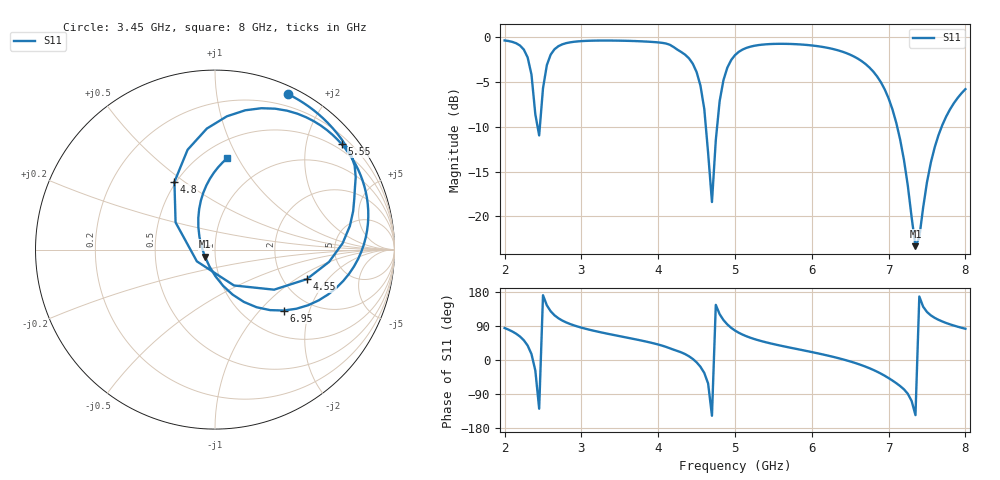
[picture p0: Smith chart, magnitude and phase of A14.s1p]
! Generated by Hertzon (EMerge FEM)
# HZ S RI R 50
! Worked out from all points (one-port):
!   121 points, 2 GHz to 8 GHz, reference 50 ohm
!   lowest |S11| = -23.3 dB at 7.35 GHz (marker M1), VSWR 1.15, Z = 44.5 - j3.46 ohm
!   |S11| at or under -10 dB: 2.43 GHz to 2.459 GHz (29.43 MHz wide, 1.2 % of centre); 4.62 GHz to 4.767 GHz (146.7 MHz wide, 3.13 % of centre); 7.112 GHz to 7.691 GHz (578.7 MHz wide, 7.82 % of centre)
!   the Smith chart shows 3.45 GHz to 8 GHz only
!   S11 on the Smith chart (normalised r, x): 3.45 GHz: 0.08, +1.57; 4.55 GHz: 2.68, -1.24; 4.8 GHz: 0.49, +0.46; 5.55 GHz: 0.36, +2.72; 6.95 GHz: 1.49, -1.37; 8 GHz: 0.65, +0.90
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2e9  0.093 0.9545
2.2e9  0.4218 0.7937
2.3e9  0.6073 0.4755
2.35e9  0.5956 0.1662
2.4e9  0.3286 -0.1731
2.45e9  -0.1766 -0.2214
2.5e9  -0.5129 0.0823
2.55e9  -0.5672 0.4083
2.65e9  -0.4013 0.7571
2.75e9  -0.2239 0.8841
3.45e9  0.4069 0.8662
3.5e9  0.4368 0.8507
3.95e9  0.6811 0.6466
4.25e9  0.7796 0.3441
4.45e9  0.711 0.0352
4.55e9  0.5114 -0.1646
4.65e9  0.1057 -0.1998
4.7e9  -0.1011 -0.0654
4.8e9  -0.226 0.3773
5e9  0.1687 0.7763
5.55e9  0.7056 0.5876
5.75e9  0.7827 0.4755
6.5e9  0.7969 -0.0531
6.95e9  0.382 -0.3394
7.25e9  0.00257 -0.1489
7.35e9  -0.0563 -0.0387
7.65e9  -0.0786 0.2734
8e9  0.0676 0.5087
